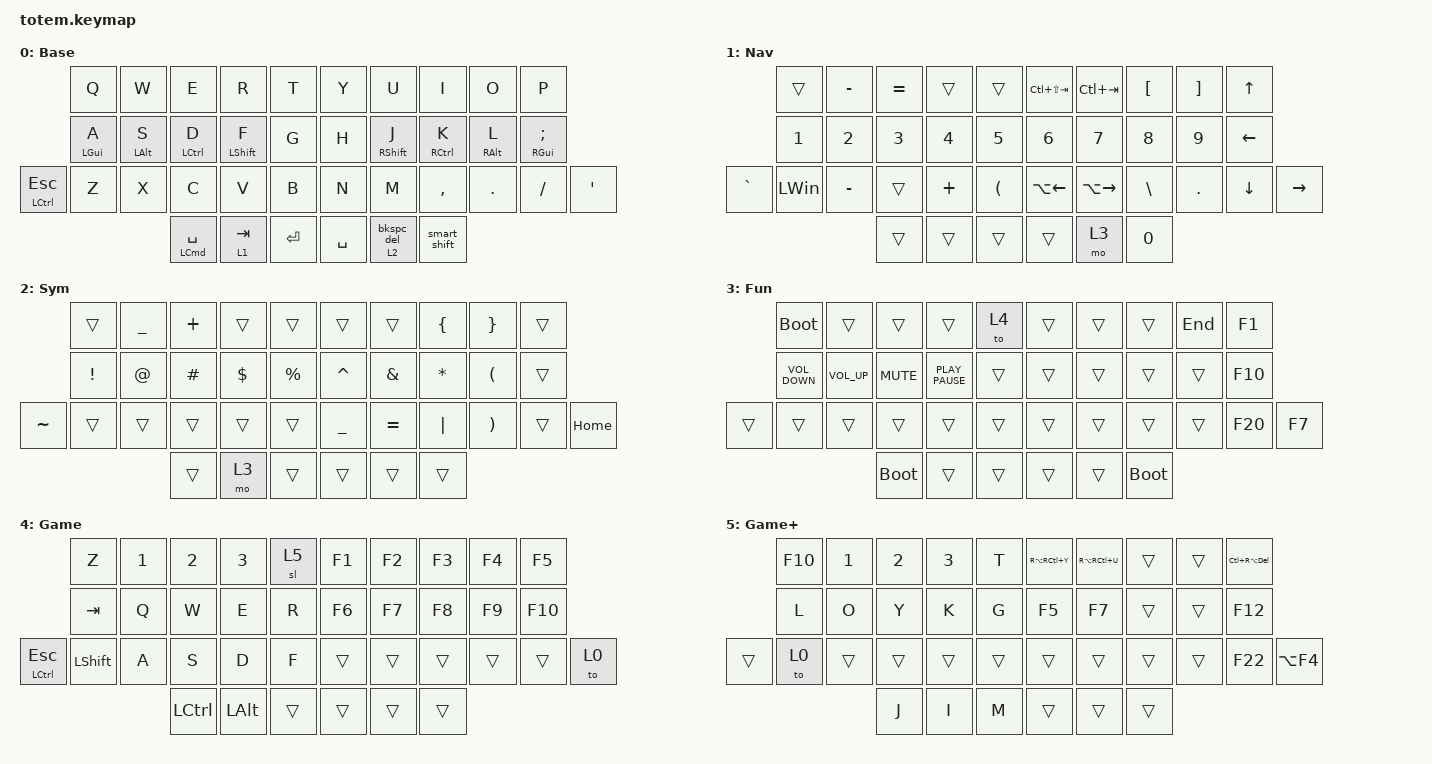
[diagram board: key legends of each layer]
//
//                                                        ▀▀▀▀▀     ▀▀▀▀▀          ▀▀█▀▀
//                                                        ▄▀▀▀▄  ▄  ▄▀▀▀▄  ▄  ▄▀▀▀▄  █  ▄▀▀▀▄
//                                                        █   █  █  █   █  █  █   █  █  █   █
//                                                         ▀▀▀   █   ▀▀▀   █   ▀▀▀   ▀   ▀▀▀
//                                                               █      ▄▄▄█▄▄▄    █   █  
//                                                               ▀      █  █  █     █▄█
//                                                             ▀▀▀▀▀    █  █  █      ▀
//                                                                      ▀  ▀  ▀
//
// ▄▄▄▄▄▄▄▄▄▄▄▄▄▄▄▄▄▄▄▄▄▄▄▄▄▄▄▄▄▄▄▄▄▄▄▄▄▄▄▄▄▄▄▄▄▄▄▄▄▄▄▄▄▄▄▄▄▄▄▄▄▄▄▄▄▄▄▄▄▄▄▄▄▄▄▄▄▄▄▄▄▄▄▄▄▄▄▄▄▄▄▄▄▄▄▄▄▄▄▄▄▄▄▄▄▄▄▄▄▄▄▄▄▄▄▄▄▄▄▄▄▄▄▄▄▄▄▄▄▄▄▄▄▄▄▄▄▄▄▄▄▄▄▄▄▄▄▄▄

#include <behaviors.dtsi>
#include <dt-bindings/zmk/keys.h>

#define Base        0
#define Nav         1
#define Sym         2
#define Fun         3
#define Game        4
#define Gameplus    5

&mt {
    quick-tap-ms = <150>;
    global-quick-tap;
    flavor = "balanced";
    tapping-term-ms = <240>;
};

&lt {
    tapping-term-ms = <240>;
    flavor = "hold-preferred";
    quick-tap-ms = <150>;
};

/ {
    behaviors {
        hml: homerow_mods_left {
            compatible = "zmk,behavior-hold-tap";
            label = "HOMEROW_MODS_LEFT";
            #binding-cells = <2>;
            flavor = "balanced";
            tapping-term-ms = <200>;
            quick-tap-ms = <125>;
            global-quick-tap;
            bindings = <&kp>, <&kp>;

            require-prior-idle-ms = <150>;
            hold-trigger-on-release;
            hold-trigger-key-positions = <5 6 7 8 18 17 16 5 6 7 8 9 15 16 17 18 19 26 27 28 29 30 31 35 36 37 23 24 10 1 4 13 25 21 32 33 34 0 1 3 4 10 11 12 13 14 20 21 22 23 24 25 32 33>;
        };

        hmr: homerow_mods_right {
            compatible = "zmk,behavior-hold-tap";
            label = "HOMEROW_MODS_RIGHT";
            #binding-cells = <2>;
            flavor = "balanced";
            tapping-term-ms = <280>;
            quick-tap-ms = <175>;
            global-quick-tap;
            bindings = <&kp>, <&kp>;

            require-prior-idle-ms = <150>;
            hold-trigger-on-release;
            hold-trigger-key-positions = <0 1 2 3 4 10 11 12 13 14 20 21 22 23 24 25 32 33 34>;
        };

        smart_shift: smart_shift {
            compatible = "zmk,behavior-mod-morph";
            label = "SMART_SHIFT";
            bindings = <&sk RIGHT_SHIFT>, <&caps_word>;

            #binding-cells = <0>;
            mods = <(MOD_RSFT)>;
        };

        bkspc_del: bkspc_del {
            compatible = "zmk,behavior-mod-morph";
            label = "BKSPC_DEL";
            bindings = <&kp BACKSPACE>, <&kp DELETE>;

            #binding-cells = <0>;
            mods = <(MOD_LSFT|MOD_RSFT)>;
        };

        layer_tap_bspc_del: layer_tap_bspc_del {
            compatible = "zmk,behavior-hold-tap";
            label = "LAYER_TAP_BSPC_DEL";
            bindings = <&mo>, <&bkspc_del>;

            #binding-cells = <2>;
            tapping-term-ms = <200>;
        };
    };

    combos {
        compatible = "zmk,combos";

        prev_tab {
            bindings = <&kp LS(LC(TAB))>;
            key-positions = <24 23>;
        };

        next_tab {
            bindings = <&kp LC(TAB)>;
            key-positions = <24 25>;
        };

        homerow_click {
            bindings = <&kp LS(LG(SPACE))>;
            key-positions = <12 13>;
        };

        homerow_scroll {
            bindings = <&kp LS(LG(J))>;
            key-positions = <13 11>;
        };

        capword {
            bindings = <&caps_word>;
            key-positions = <13 16>;
        };
    };

    keymap {
        compatible = "zmk,keymap";

        Base {
            display-name = "Base";
            bindings = <
                         &kp Q        &kp W        &kp E                    &kp R          &kp T        &kp Y      &kp U                    &kp I         &kp O        &kp P
                         &hml LGUI A  &hml LALT S  &hml LCTRL D             &hml LSHIFT F  &kp G        &kp H      &hmr RSHFT J             &hmr RCTRL K  &hmr RALT L  &hmr RGUI SEMICOLON
&mt LEFT_CONTROL ESCAPE  &kp Z        &kp X        &kp C                    &kp V          &kp B        &kp N      &kp M                    &kp COMMA     &kp DOT      &kp SLASH            &kp APOSTROPHE
                                                   &hml LEFT_COMMAND SPACE  &lt 1 TAB      &kp ENTER    &kp SPACE  &layer_tap_bspc_del 2 0  &smart_shift
            >;
        };

        Nav {
            display-name = "Nav";
            bindings = <
           &trans        &kp MINUS     &kp EQUAL     &trans        &trans      &kp LC(LS(TAB))  &kp LC(TAB)    &kp LEFT_BRACKET  &kp RIGHT_BRACKET  &kp UP_ARROW
           &kp NUMBER_1  &kp NUMBER_2  &kp NUMBER_3  &kp NUMBER_4  &kp N5      &kp NUMBER_6     &kp N7         &kp N8            &kp N9             &kp LEFT
&kp GRAVE  &kp LEFT_WIN  &kp MINUS     &trans        &kp PLUS      &kp LPAR    &kp LA(LEFT)     &kp LA(RIGHT)  &kp BACKSLASH     &kp PERIOD         &kp DOWN      &kp RIGHT
                                       &trans        &trans        &trans      &trans           &mo 3          &kp N0
            >;
        };

        Sym {
            display-name = "Sym";
            bindings = <
           &trans           &kp UNDER    &kp PLUS  &trans      &trans         &trans     &trans         &kp LEFT_BRACE  &kp RIGHT_BRACE        &trans
           &kp EXCLAMATION  &kp AT_SIGN  &kp HASH  &kp DOLLAR  &kp PERCENT    &kp CARET  &kp AMPERSAND  &kp ASTERISK    &kp LEFT_PARENTHESIS   &trans
&kp TILDE  &trans           &trans       &trans    &trans      &trans         &kp UNDER  &kp EQUAL      &kp PIPE        &kp RIGHT_PARENTHESIS  &trans  &kp HOME
                                         &trans    &mo 3       &trans         &trans     &trans         &trans
            >;
        };

        Fun {
            display-name = "Fun";
            bindings = <
        &bootloader        &trans           &trans       &trans            &to 4     &trans  &trans  &trans       &kp END  &kp F1
        &kp C_VOLUME_DOWN  &kp C_VOLUME_UP  &kp C_MUTE   &kp K_PLAY_PAUSE  &trans    &trans  &trans  &trans       &trans   &kp F10
&trans  &trans             &trans           &trans       &trans            &trans    &trans  &trans  &trans       &trans   &kp F20  &kp F7
                                            &bootloader  &trans            &trans    &trans  &trans  &bootloader
            >;
        };

        Gaming {
            display-name = "Game";
            bindings = <
                  &kp Z           &kp NUMBER_1  &kp NUMBER_2  &kp NUMBER_3  &sl 5     &kp F1  &kp F2  &kp F3  &kp F4  &kp F5
                  &kp TAB         &kp Q         &kp W         &kp E         &kp R     &kp F6  &kp F7  &kp F8  &kp F9  &kp F10
&mt LCTRL ESCAPE  &kp LEFT_SHIFT  &kp A         &kp S         &kp D         &kp F     &trans  &trans  &trans  &trans  &trans   &to 0
                                                &kp LCTRL     &kp LEFT_ALT  &trans    &trans  &trans  &trans
            >;
        };

        Gaming+ {
            display-name = "Game+";
            bindings = <
        &kp F10  &kp NUMBER_1  &kp NUMBER_2  &kp NUMBER_3  &kp T     &kp RA(RC(Y))  &kp RA(RC(U))  &trans  &trans  &kp LC(RA(DEL))
        &kp L    &kp O         &kp Y         &kp K         &kp G     &kp F5         &kp F7         &trans  &trans  &kp F12
&trans  &to 0    &trans        &trans        &trans        &trans    &trans         &trans         &trans  &trans  &kp F22          &kp LA(F4)
                               &kp J         &kp I         &kp M     &trans         &trans         &trans
            >;
        };
    };
};
